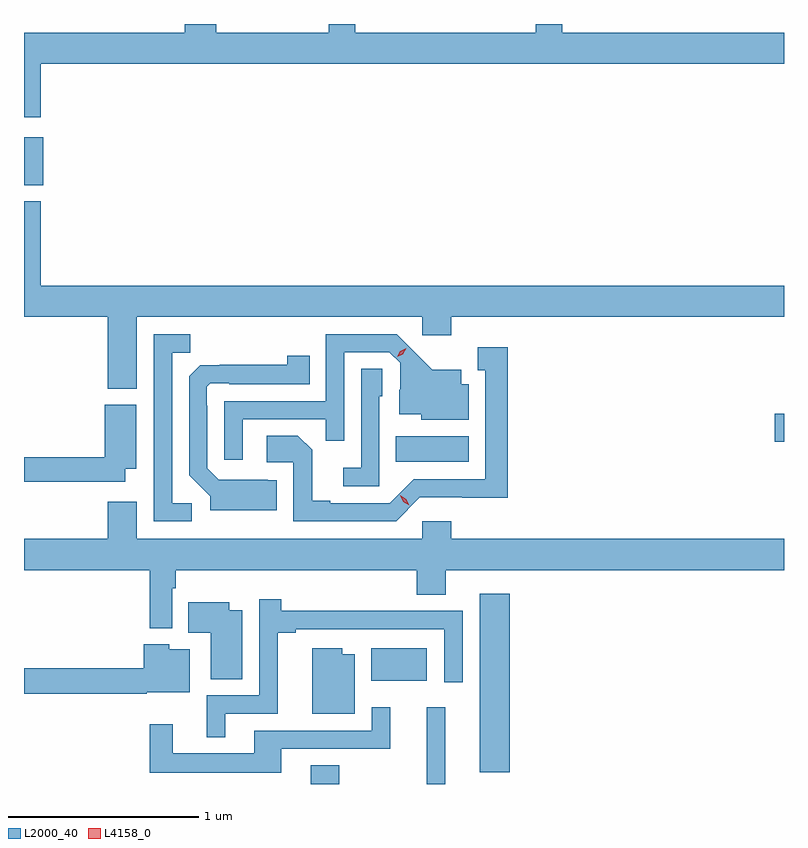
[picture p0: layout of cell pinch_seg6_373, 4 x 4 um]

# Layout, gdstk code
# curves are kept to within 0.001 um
import gdstk
lib = gdstk.Library(unit=1e-6, precision=1e-09)
def R(c, l, rs):  # rectangles x0, y0, x1, y1
    for r in rs: c.add(gdstk.rectangle(r[:2], r[2:], *l))
def P(c, l, *ps):  # polygons
    for p in ps: c.add(gdstk.Polygon(p, *l))
L2000_40 = (2000, 40)
L4158_0 = (4158, 0)

pinch_seg6_373 = lib.new_cell('pinch_seg6_373')
R(pinch_seg6_373, L2000_40, [(659.51,951.538,659.658,951.638), (660.119,951.538,660.218,951.943), (660.398,951.6,660.557,952.54), (659.828,952.082,660.121,952.252), (659.956,953.234,660.34,953.368), (661.95,953.339,662,953.486), (658,954.689,658.102,954.943)])
P(pinch_seg6_373, L2000_40, [(658.087,955.328),(662,955.328),(662,955.492),(660.832,955.492),(660.832,955.538),(660.693,955.538),(660.693,955.492),(659.743,955.492),(659.743,955.538),(659.603,955.538),(659.603,955.492),(659.011,955.492),(659.011,955.538),(658.847,955.538),(658.847,955.492),(658,955.492),(658,955.047),(658.087,955.047)],
  [(658.594,953.996),(660.096,953.996),(660.096,953.901),(660.248,953.901),(660.248,953.996),(662,953.996),(662,954.16),(658.087,954.16),(658.087,954.604),(658,954.604),(658,953.996),(658.442,953.996),(658.442,953.618),(658.594,953.618)],
  [(658.882,953.016),(658.779,953.016),(658.779,953.809),(658.875,953.809),(658.875,953.904),(658.683,953.904),(658.683,952.92),(658.882,952.92)],
  [(659.151,953.457),(659.587,953.457),(659.587,953.344),(659.685,953.344),(659.685,953.811),(659.922,953.811),(659.979,953.754),(659.979,953.612),(659.975,953.612),(659.975,953.483),(660.09,953.483),(660.09,953.456),(660.34,953.456),(660.34,953.641),(660.301,953.641),(660.301,953.719),(660.149,953.719),(659.962,953.904),(659.589,953.904),(659.589,953.553),(659.055,953.553),(659.055,953.244),(659.151,953.244)],
  [(660.084,953.046),(660.547,953.045),(660.547,953.836),(660.389,953.836),(660.389,953.715),(660.428,953.715),(660.428,953.142),(660.051,953.142),(659.925,953.016),(659.611,953.016),(659.611,953.029),(659.517,953.029),(659.517,953.296),(659.441,953.372),(659.277,953.372),(659.277,953.232),(659.418,953.232),(659.418,952.92),(659.958,952.92)],
  [(659.329,953.137),(659.285,953.137),(659.282,953.14),(659.025,953.139),(658.965,953.199),(658.965,953.528),(658.962,953.528),(658.962,953.628),(658.98,953.646),(659.08,953.646),(659.08,953.643),(659.504,953.643),(659.504,953.791),(659.386,953.791),(659.386,953.744),(658.928,953.743),(658.869,953.684),(658.869,953.162),(658.979,953.052),(658.979,952.979),(659.329,952.979)],
  [(659.871,953.58),(659.886,953.58),(659.886,953.723),(659.775,953.723),(659.775,953.203),(659.679,953.203),(659.679,953.106),(659.871,953.106)],
  [(658.534,953.198),(658.591,953.198),(658.591,953.533),(658.424,953.533),(658.424,953.258),(658,953.258),(658,953.13),(658.534,953.13)],
  [(658.779,952.568),(658.799,952.568),(658.799,952.664),(660.068,952.664),(660.068,952.534),(660.22,952.534),(660.22,952.664),(662,952.664),(662,952.828),(660.248,952.828),(660.248,952.921),(660.096,952.921),(660.096,952.828),(658.594,952.828),(658.594,953.023),(658.442,953.023),(658.442,952.828),(658,952.828),(658,952.664),(658.663,952.664),(658.663,952.358),(658.779,952.358)],
  [(659.059,951.909),(659.336,951.909),(659.336,952.333),(659.431,952.333),(659.431,952.353),(660.213,952.353),(660.213,952.074),(660.309,952.074),(660.309,952.449),(659.984,952.449),(659.984,952.451),(659.354,952.451),(659.354,952.51),(659.238,952.51),(659.238,952.005),(658.961,952.005),(658.961,951.785),(659.059,951.785)],
  [(659.149,952.453),(659.08,952.453),(659.08,952.495),(658.864,952.495),(658.864,952.334),(658.982,952.334),(658.982,952.09),(659.149,952.09)],
  [(658.647,952.022),(658.873,952.022),(658.873,952.246),(658.764,952.246),(658.764,952.273),(658.631,952.273),(658.631,952.148),(658,952.148),(658,952.012),(658.647,952.012)],
  [(659.74,952.222),(659.674,952.222),(659.674,952.252),(659.516,952.252),(659.516,951.908),(659.74,951.908)],
  [(659.353,951.723),(659.927,951.723),(659.927,951.943),(659.829,951.943),(659.829,951.819),(659.213,951.819),(659.213,951.7),(658.783,951.7),(658.783,951.853),(658.662,951.853),(658.662,951.596),(659.353,951.596)])
P(pinch_seg6_373, L4158_0, [(660.028,953.005),(659.997,953.024),(659.979,953.057),(659.979,953.057),(659.98,953.057),(660.011,953.038),(660.028,953.005),(660.028,953.005)],
  [(659.964,953.786),(659.964,953.787),(659.98,953.816),(660.011,953.831),(660.011,953.831),(660.011,953.831),(659.994,953.801),(659.964,953.786)])

lib.write_gds('pinch_seg6_373.gds')
